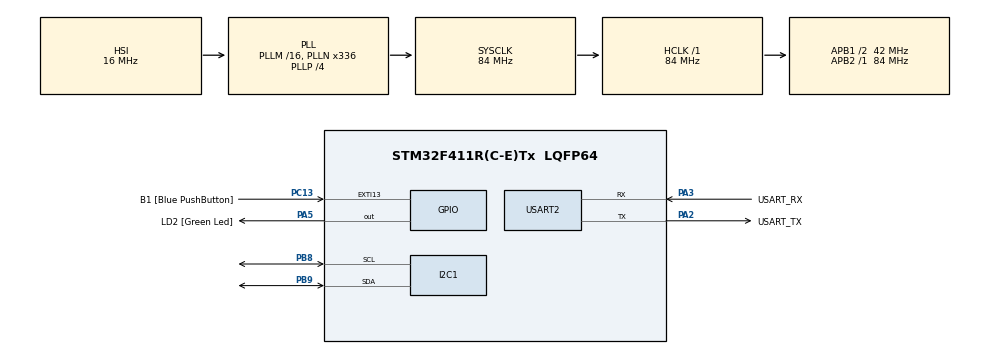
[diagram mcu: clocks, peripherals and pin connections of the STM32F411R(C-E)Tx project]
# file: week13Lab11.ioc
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Mcu.Family=STM32F4
PC15-OSC32_OUT.Mode=LSE-External-Oscillator
RCC.CortexFreq_Value=84000000
NVIC.I2C1_EV_IRQn=true\:0\:0\:false\:false\:true\:true\:true
PC13-ANTI_TAMP.GPIO_Label=B1 [Blue PushButton]
PA14.GPIO_Label=TCK
PH1\ -\ OSC_OUT.Mode=HSE-External-Clock-Source
RCC.APB1CLKDivider=RCC_HCLK_DIV2
PC14-OSC32_IN.Signal=RCC_OSC32_IN
RCC.SYSCLKSource=RCC_SYSCLKSOURCE_PLLCLK
ProjectManager.StackSize=0x400
PA13.Signal=SYS_JTMS-SWDIO
PA3.Mode=Asynchronous
PH0\ -\ OSC_IN.Mode=HSE-External-Clock-Source
PH0\ -\ OSC_IN.Signal=RCC_OSC_IN
ProjectManager.TargetToolchain=STM32CubeIDE
I2C1.I2C_Mode=I2C_Fast
RCC.HCLKFreq_Value=84000000
PB9.Mode=I2C
RCC.APB2TimFreq_Value=84000000
PC15-OSC32_OUT.Signal=RCC_OSC32_OUT
RCC.AHBFreq_Value=84000000
PA5.Signal=GPIO_Output
RCC.HSE_VALUE=8000000
PH1\ -\ OSC_OUT.Signal=RCC_OSC_OUT
board=NUCLEO-F411RE
PC13-ANTI_TAMP.Signal=GPXTI13
RCC.VCOOutputFreq_Value=336000000
RCC.APB2Freq_Value=84000000
PC14-OSC32_IN.Mode=LSE-External-Oscillator
PA14.Mode=Serial_Wire
PA13.Mode=Serial_Wire
NVIC.I2C1_ER_IRQn=true\:0\:0\:false\:false\:true\:true\:true
Mcu.Name=STM32F411R(C-E)Tx
PA2.Signal=USART2_TX
PA13.GPIO_Label=TMS
RCC.FLatency-AdvancedSettings=FLASH_LATENCY_2
RCC.48MHZClocksFreq_Value=84000000
PB3.Signal=SYS_JTDO-SWO
RCC.SYSCLKFreq_VALUE=84000000
Mcu.Package=LQFP64
PB9.Signal=I2C1_SDA
PA5.GPIO_Label=LD2 [Green Led]
USART2.VirtualMode=VM_ASYNC
PC13-ANTI_TAMP.GPIO_ModeDefaultEXTI=GPIO_MODE_IT_FALLING
PA2.GPIO_Label=USART_TX
PA14.Signal=SYS_JTCK-SWCLK
ProjectManager.HeapSize=0x200
RCC.HSI_VALUE=16000000
RCC.PLLP=RCC_PLLP_DIV4
NVIC.PriorityGroup=NVIC_PRIORITYGROUP_0
PB8.Mode=I2C
RCC.PLLN=336
RCC.APB1TimFreq_Value=84000000
PA2.Mode=Asynchronous
PB8.Signal=I2C1_SCL
RCC.APB1Freq_Value=42000000
PA3.GPIO_Label=USART_RX
PA3.Signal=USART2_RX
PB3.GPIO_Label=SWO

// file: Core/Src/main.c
/* USER CODE BEGIN Header */
/**
 ******************************************************************************
 * @file           : main.c
 * @brief          : Main program body
 ******************************************************************************
 * @attention
 *
 * <h2><center>&copy; Copyright (c) 2021 STMicroelectronics.
 * All rights reserved.</center></h2>
 *
 * This software component is licensed by ST under BSD 3-Clause license,
 * the "License"; You may not use this file except in compliance with the
 * License. You may obtain a copy of the License at:
 *                        opensource.org/licenses/BSD-3-Clause
 *
 ******************************************************************************
 */
/* USER CODE END Header */
#include "main.h"

/* USER CODE BEGIN PD */
#define EEPROM_ADDR 0b10100000
#define IOEXPD_ADDR 0b01000000
/* USER CODE END PD */

I2C_HandleTypeDef hi2c1;

UART_HandleTypeDef huart2;

/* USER CODE BEGIN PV */
uint8_t eepromExampleWriteFlag = 0;//flag => เพื่อให้ทำงานเพียงรอบเดียว
uint8_t eepromExampleReadFlag = 0;
uint8_t IOExpdrExampleWriteFlag = 0;
uint8_t IOExpdrExampleReadFlag = 0;
uint8_t eepromDataReadBack[1];
uint8_t IOExpdrDataReadBack;
uint8_t IOExpdrDataWrite = 0b01010101;
uint16_t ButtonState[2] = {0};
uint32_t Time = 0;
/* USER CODE END PV */

void SystemClock_Config(void);
static void MX_GPIO_Init(void);
static void MX_USART2_UART_Init(void);
static void MX_I2C1_Init(void);
/* USER CODE BEGIN PFP */
void EEPROMWriteExample();
void EEPROMReadExample(uint8_t *Rdata, uint16_t len);
void IOExpenderInit();
void IOExpenderReadPinA(uint8_t *Rdata);
void IOExpenderWritePinB(uint8_t Wdata);

/* USER CODE END PFP */

int main(void)
{

  /* MCU Configuration--------------------------------------------------------*/

  /* Reset of all peripherals, Initializes the Flash interface and the Systick. */
  HAL_Init();

  /* Configure the system clock */
  SystemClock_Config();

  /* Initialize all configured peripherals */
  MX_GPIO_Init();
  MX_USART2_UART_Init();
  MX_I2C1_Init();
  /* USER CODE BEGIN 2 */
  HAL_Delay(100);
  IOExpenderInit();
  /* USER CODE END 2 */

  /* Infinite loop */
  /* USER CODE BEGIN WHILE */
	while (1) {
		if(HAL_GetTick()-Time>=100){
			Time = HAL_GetTick();
			ButtonState[0] =  HAL_GPIO_ReadPin(GPIOC, GPIO_PIN_13);
			if(ButtonState[1]==1&&ButtonState[0]==0)
			{
				IOExpdrExampleReadFlag = 1;
				IOExpenderReadPinA(&IOExpdrDataReadBack);//อ่านจากปุ่มกด
				HAL_Delay(10);
				IOExpdrDataWrite = IOExpdrDataReadBack;//เอาค่าที่กดมาmemไว้
				IOExpdrExampleWriteFlag=1;
				IOExpenderWritePinB(IOExpdrDataWrite);//1//เขียนลงled
				HAL_Delay(10);
				eepromExampleWriteFlag = 1;
				EEPROMWriteExample(IOExpdrDataReadBack);//เก็บไว้ในmem eeprom
				HAL_Delay(10);
				eepromExampleReadFlag=1;
				EEPROMReadExample(eepromDataReadBack, 1);
				//อ่านข้อมูลในmem eeprom
				HAL_Delay(10);
			}
			ButtonState[1] = ButtonState[0];
			eepromExampleReadFlag=1;
			EEPROMReadExample(eepromDataReadBack, 1);
			//อ่านจาก eeprom จาก mem
			HAL_Delay(10);
			IOExpdrExampleWriteFlag=1;
			IOExpenderWritePinB(eepromDataReadBack[0]);
			//นำข้อมูลจาก eeprom มาเขียนลงled
			HAL_Delay(10);
		}

    /* USER CODE END WHILE */

	}
}

void SystemClock_Config(void)
{
  RCC_OscInitTypeDef RCC_OscInitStruct = {0};
  RCC_ClkInitTypeDef RCC_ClkInitStruct = {0};

  /** Configure the main internal regulator output voltage
  */
  __HAL_RCC_PWR_CLK_ENABLE();
  __HAL_PWR_VOLTAGESCALING_CONFIG(PWR_REGULATOR_VOLTAGE_SCALE1);
  /** Initializes the RCC Oscillators according to the specified parameters
  * in the RCC_OscInitTypeDef structure.
  */
  RCC_OscInitStruct.OscillatorType = RCC_OSCILLATORTYPE_HSI;
  RCC_OscInitStruct.HSIState = RCC_HSI_ON;
  RCC_OscInitStruct.HSICalibrationValue = RCC_HSICALIBRATION_DEFAULT;
  RCC_OscInitStruct.PLL.PLLState = RCC_PLL_ON;
  RCC_OscInitStruct.PLL.PLLSource = RCC_PLLSOURCE_HSI;
  RCC_OscInitStruct.PLL.PLLM = 16;
  RCC_OscInitStruct.PLL.PLLN = 336;
  RCC_OscInitStruct.PLL.PLLP = RCC_PLLP_DIV4;
  RCC_OscInitStruct.PLL.PLLQ = 4;
  if (HAL_RCC_OscConfig(&RCC_OscInitStruct) != HAL_OK)
  {
    Error_Handler();
  }
  /** Initializes the CPU, AHB and APB buses clocks
  */
  RCC_ClkInitStruct.ClockType = RCC_CLOCKTYPE_HCLK|RCC_CLOCKTYPE_SYSCLK
                              |RCC_CLOCKTYPE_PCLK1|RCC_CLOCKTYPE_PCLK2;
  RCC_ClkInitStruct.SYSCLKSource = RCC_SYSCLKSOURCE_PLLCLK;
  RCC_ClkInitStruct.AHBCLKDivider = RCC_SYSCLK_DIV1;
  RCC_ClkInitStruct.APB1CLKDivider = RCC_HCLK_DIV2;
  RCC_ClkInitStruct.APB2CLKDivider = RCC_HCLK_DIV1;

  if (HAL_RCC_ClockConfig(&RCC_ClkInitStruct, FLASH_LATENCY_2) != HAL_OK)
  {
    Error_Handler();
  }
}

static void MX_I2C1_Init(void)
{

  hi2c1.Instance = I2C1;
  hi2c1.Init.ClockSpeed = 400000;
  hi2c1.Init.DutyCycle = I2C_DUTYCYCLE_2;
  hi2c1.Init.OwnAddress1 = 0;
  hi2c1.Init.AddressingMode = I2C_ADDRESSINGMODE_7BIT;
  hi2c1.Init.DualAddressMode = I2C_DUALADDRESS_DISABLE;
  hi2c1.Init.OwnAddress2 = 0;
  hi2c1.Init.GeneralCallMode = I2C_GENERALCALL_DISABLE;
  hi2c1.Init.NoStretchMode = I2C_NOSTRETCH_DISABLE;
  if (HAL_I2C_Init(&hi2c1) != HAL_OK)
  {
    Error_Handler();
  }

}

static void MX_USART2_UART_Init(void)
{

  huart2.Instance = USART2;
  huart2.Init.BaudRate = 115200;
  huart2.Init.WordLength = UART_WORDLENGTH_8B;
  huart2.Init.StopBits = UART_STOPBITS_1;
  huart2.Init.Parity = UART_PARITY_NONE;
  huart2.Init.Mode = UART_MODE_TX_RX;
  huart2.Init.HwFlowCtl = UART_HWCONTROL_NONE;
  huart2.Init.OverSampling = UART_OVERSAMPLING_16;
  if (HAL_UART_Init(&huart2) != HAL_OK)
  {
    Error_Handler();
  }

}

static void MX_GPIO_Init(void)
{
  GPIO_InitTypeDef GPIO_InitStruct = {0};

  /* GPIO Ports Clock Enable */
  __HAL_RCC_GPIOC_CLK_ENABLE();
  __HAL_RCC_GPIOH_CLK_ENABLE();
  __HAL_RCC_GPIOA_CLK_ENABLE();
  __HAL_RCC_GPIOB_CLK_ENABLE();

  /*Configure GPIO pin Output Level */
  HAL_GPIO_WritePin(LD2_GPIO_Port, LD2_Pin, GPIO_PIN_RESET);

  /*Configure GPIO pin : B1_Pin */
  GPIO_InitStruct.Pin = B1_Pin;
  GPIO_InitStruct.Mode = GPIO_MODE_IT_FALLING;
  GPIO_InitStruct.Pull = GPIO_NOPULL;
  HAL_GPIO_Init(B1_GPIO_Port, &GPIO_InitStruct);

  /*Configure GPIO pin : LD2_Pin */
  GPIO_InitStruct.Pin = LD2_Pin;
  GPIO_InitStruct.Mode = GPIO_MODE_OUTPUT_PP;
  GPIO_InitStruct.Pull = GPIO_NOPULL;
  GPIO_InitStruct.Speed = GPIO_SPEED_FREQ_LOW;
  HAL_GPIO_Init(LD2_GPIO_Port, &GPIO_InitStruct);

}

/* USER CODE BEGIN 4 */
void EEPROMWriteExample(uint8_t *Wdata) {
//	if(Active==1)
//	{
			if (eepromExampleWriteFlag && hi2c1.State == HAL_I2C_STATE_READY)
			{
				static uint8_t data[1] = { 0xff};
				data[0] = Wdata;
//			data[0] = (IOExpdrDataReadBack&&0b00001000);

				HAL_I2C_Mem_Write_IT(&hi2c1, EEPROM_ADDR, 0x16, I2C_MEMADD_SIZE_16BIT,data, 1);
				eepromExampleWriteFlag = 0;
//				EWriteActive=0;
			}
//	}
}
void EEPROMReadExample(uint8_t *Rdata, uint16_t len) {
//	if(Active==1)
//	{
			if (eepromExampleReadFlag && hi2c1.State == HAL_I2C_STATE_READY)
			{
				HAL_I2C_Mem_Read_IT(&hi2c1, EEPROM_ADDR, 0x16, I2C_MEMADD_SIZE_16BIT,Rdata, len);
				eepromExampleReadFlag = 0;             // ทำให้ eeprom ทำงานรอบเดียว
//				EReadActive=0;
//				Active=0;
			}

//	}
}
void IOExpenderInit() {
	//Init All
	static uint8_t Setting[0x16] = { 0xFF, 0x00, 0x00, 0x00, 0x00, 0x00, 0x00,
			0x00, 0x00, 0x00, 0x00, 0x00, 0xFF, 0x00, 0x00, 0x00, 0x00, 0x00,
			0x00, 0x00, 0x00, 0x00 };
	HAL_I2C_Mem_Write(&hi2c1, IOEXPD_ADDR, 0x00, I2C_MEMADD_SIZE_8BIT, Setting,
			0x16, 100);//ถูก call ครั้งเดียว ตอนเปิด controller
}
void IOExpenderReadPinA(uint8_t *Rdata) {
//	if(Active==1){
			if (IOExpdrExampleReadFlag && hi2c1.State == HAL_I2C_STATE_READY) {
				HAL_I2C_Mem_Read_IT(&hi2c1, IOEXPD_ADDR, 0x12, I2C_MEMADD_SIZE_8BIT,Rdata, 1);
				IOExpdrExampleReadFlag = 0;
//				IOReadActive=0;
				}

//	}
}
void IOExpenderWritePinB(uint8_t Wdata) {
//	if(Active==1){
			if (IOExpdrExampleWriteFlag && hi2c1.State == HAL_I2C_STATE_READY) {
				static uint8_t data;
				data = Wdata;
				HAL_I2C_Mem_Write_IT(&hi2c1, IOEXPD_ADDR, 0x15, I2C_MEMADD_SIZE_8BIT,&data, 1);
				IOExpdrExampleWriteFlag=0;
//				IOWriteActive=0;
			}

//	}
}
/* USER CODE END 4 */

void Error_Handler(void)
{
	__disable_irq();
	while (1) {
	}
}

/************************ (C) COPYRIGHT STMicroelectronics *****END OF FILE****/
